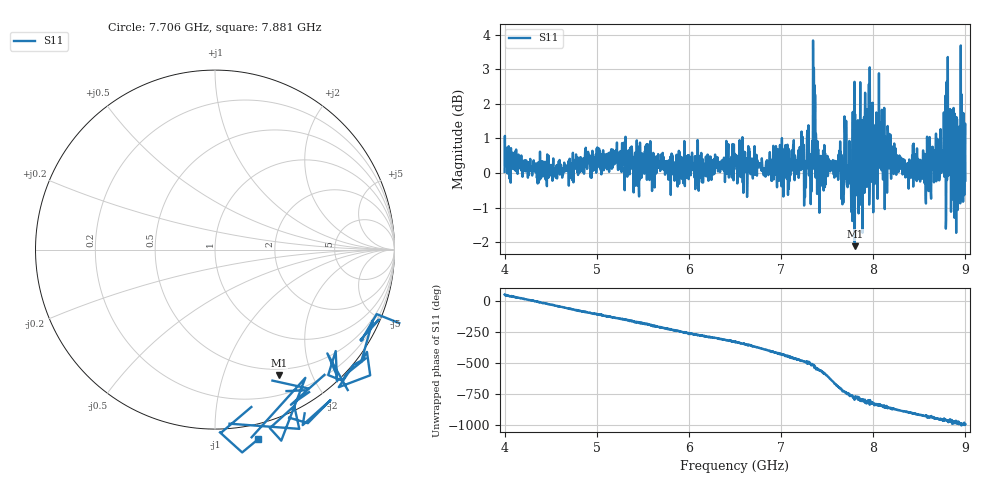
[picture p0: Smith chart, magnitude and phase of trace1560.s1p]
! Created with skrf 1.8.0 (http://scikit-rf.org).
# Hz S RI R 50.0
!freq ReS11 ImS11
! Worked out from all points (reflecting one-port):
!   1601 points, 4 GHz to 9 GHz, reference 50 ohm
!   lowest |S11| = -2.1 dB at 7.8 GHz (marker M1), VSWR 8.24, Z = 21.4 - j77.4 ohm
!   phase of S11 starts at 54 deg and turns -1051 deg over the sweep
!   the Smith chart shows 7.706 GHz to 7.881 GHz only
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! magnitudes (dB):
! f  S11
! 4 GHz  0.0
! 4.625 GHz  -0.1
! 5.25 GHz  0.1
! 5.875 GHz  -0.4
! 6.5 GHz  0.6
! 7.125 GHz  0.6
! 7.319 GHz  -0.1
! 7.362 GHz  2.5
! 7.372 GHz  1.9
! 7.4 GHz  0.7
! 7.438 GHz  -0.1
! 7.659 GHz  0.5
! 7.684 GHz  -0.2
! 7.75 GHz  0.3
! 7.788 GHz  1.3
! 7.8 GHz  -2.1
! 7.909 GHz  1.6
! 7.928 GHz  1.8
! 8.025 GHz  1.4
! 8.097 GHz  0.5
! 8.128 GHz  0.8
! 8.375 GHz  0.0
! 8.581 GHz  -0.2
! 8.822 GHz  0.7
! 8.875 GHz  0.2
! 8.919 GHz  -0.4
! 8.953 GHz  -0.2
! 9 GHz  -0.2
